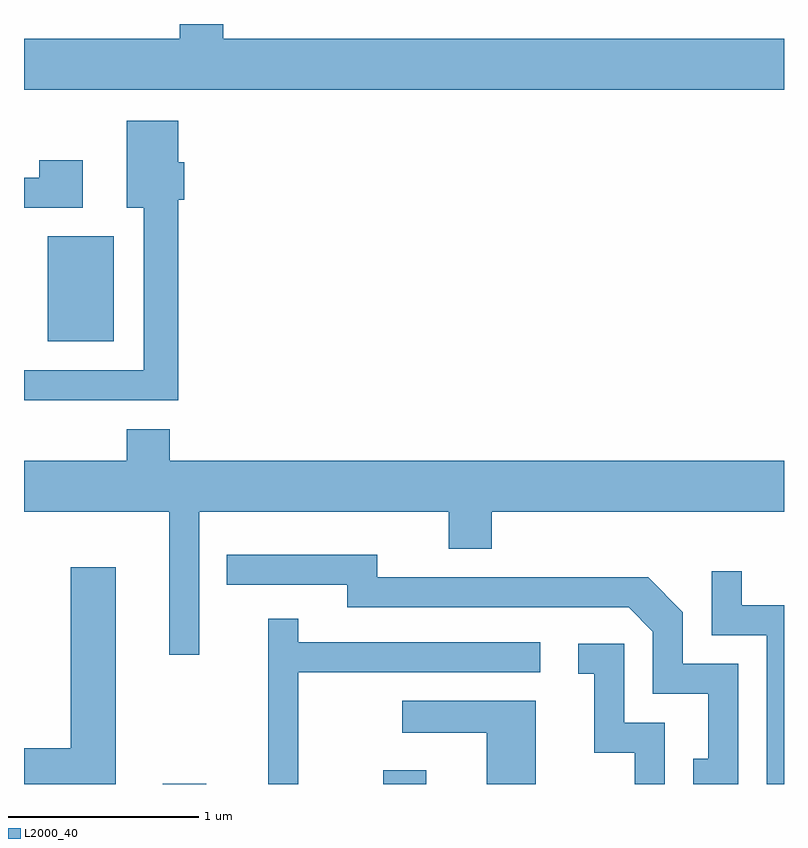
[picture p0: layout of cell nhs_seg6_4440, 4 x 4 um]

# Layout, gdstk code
import gdstk
lib = gdstk.Library(unit=1e-6, precision=1e-09)
def R(c, l, rs):  # rectangles x0, y0, x1, y1
    for r in rs: c.add(gdstk.rectangle(r[:2], r[2:], *l))
def P(c, l, *ps):  # polygons
    for p in ps: c.add(gdstk.Polygon(p, *l))
L2000_40 = (2000, 40)

nhs_seg6_4440 = lib.new_cell('nhs_seg6_4440')
R(nhs_seg6_4440, L2000_40, [(322.341,1544.162,322.569,1544.164), (323.501,1544.162,323.729,1544.234), (321.736,1546.491,322.084,1547.044)])
P(nhs_seg6_4440, L2000_40, [(325.611,1548.084),(322.659,1548.084),(322.659,1548.162),(322.431,1548.162),(322.431,1548.084),(321.611,1548.084),(321.611,1547.816),(325.611,1547.816)],
  [(322.424,1547.236),(322.454,1547.236),(322.454,1547.434),(322.424,1547.434),(322.424,1547.654),(322.151,1547.654),(322.151,1547.196),(322.241,1547.196),(322.241,1546.339),(321.611,1546.339),(321.611,1546.181),(322.424,1546.181)],
  [(321.919,1547.444),(321.691,1547.444),(321.691,1547.354),(321.611,1547.354),(321.611,1547.196),(321.919,1547.196)],
  [(322.534,1545.596),(323.846,1545.596),(323.846,1545.401),(324.074,1545.401),(324.074,1545.596),(325.611,1545.596),(325.611,1545.864),(322.379,1545.864),(322.379,1546.029),(322.151,1546.029),(322.151,1545.864),(321.611,1545.864),(321.611,1545.596),(322.376,1545.596),(322.376,1544.843),(322.534,1544.843)],
  [(325.369,1544.794),(325.079,1544.794),(325.079,1545.067),(324.897,1545.249),(323.469,1545.249),(323.469,1545.369),(322.678,1545.369),(322.678,1545.211),(323.311,1545.211),(323.311,1545.091),(324.794,1545.091),(324.921,1544.964),(324.921,1544.636),(325.211,1544.636),(325.211,1544.294),(325.133,1544.294),(325.133,1544.162),(325.369,1544.162)],
  [(322.094,1545.304),(321.856,1545.304),(321.856,1544.349),(321.611,1544.349),(321.611,1544.162),(322.094,1544.162)],
  [(325.611,1545.104),(325.389,1545.104),(325.389,1545.283),(325.231,1545.283),(325.231,1544.946),(325.521,1544.946),(325.521,1544.162),(325.611,1544.162)],
  [(323.054,1544.751),(324.328,1544.751),(324.328,1544.909),(323.054,1544.909),(323.054,1545.033),(322.896,1545.033),(322.896,1544.162),(323.054,1544.162)],
  [(324.984,1544.484),(324.769,1544.484),(324.769,1544.899),(324.528,1544.899),(324.528,1544.741),(324.611,1544.741),(324.611,1544.326),(324.826,1544.326),(324.826,1544.162),(324.984,1544.162)],
  [(324.304,1544.599),(323.603,1544.599),(323.603,1544.431),(324.046,1544.431),(324.046,1544.162),(324.304,1544.162)])

lib.write_gds('nhs_seg6_4440.gds')
